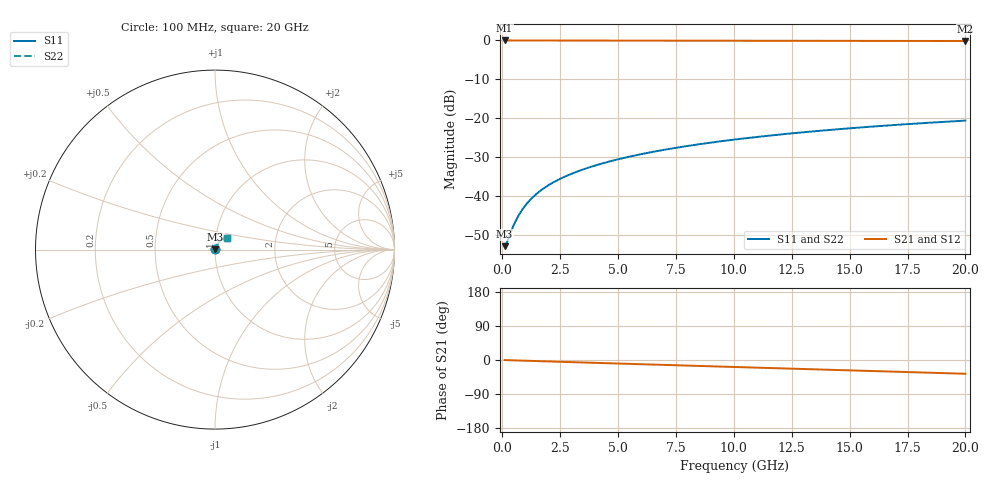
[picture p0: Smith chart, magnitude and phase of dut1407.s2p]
! Touchstone file exported from HFSS 2026.1.0
!  File:  C:/ffzhzh/LocalFiles/Ansys_Project_Files/temp_train_BSMRDL_1407_1783179979_18472.aedt
!  Generated:  11:47:25 PM Jul  4, 2026
!  Design:  BSMRDL
!  Project:  temp_train_BSMRDL_1407_1783179979_18472
! Variables:
!  h_bsmrdl = 5.61um
!  h_ox = 20um
!  h_rdl = 5um
!  h_sub = 80um
!  h_tmrdl = 5um
!  h_tsv = 80um
!  h_via = 3um
!  l_bsmrdl = 640.53um
!  l_sub = 1040.53um
!  l_tmrdl = 200um
!  m_sub = 200um
!  pitch = 31.52um
!  r_tsv = 6um
!  s_tmrdl = 10um
!  w_bsmrdl = 23.28um
!  w_sub = 500um
!  w_tmrdl = 12um
!  x_tsv_center1 = 206um
!  x_tsv_center2 = 869.81um
!  x_tsv_center3 = 1081.81um
!  x_tsv_center4 = 1745.62um
!  x_tsv_center5 = 1957.62um
!  x_tsv_center6 = 2621.43um
# GHz S MA R 50.000000
! Terminal data exported
! Port[1] = BSM_RDL1_1_T1
! Port[2] = BSM_RDL1_1_T2
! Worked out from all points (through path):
!   200 points, 100 MHz to 20 GHz, reference 50 ohm
!   highest |S21| = -0.02 dB at 100 MHz (marker M1); lowest = -0.2 dB at 20 GHz (marker M2)
!   group delay of S21, straight-line fit = 5.02 ps
!   lowest |S11| = -53.0 dB at 100 MHz (marker M3), VSWR 1.00, Z = 50.2 + j0.101 ohm
!   |S11| at or under -10 dB: start of sweep to end of sweep
!   |S22| runs from -53.0 to -20.7 dB; largest |S21 - S12| = 4.5e-15
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0.1  0.002243 26.7  0.998 -0.2  0.998 -0.2  0.002243 26.7
! Gamma 0 0 0 0
! Port Impedance 50 0 50 0
0.2  0.002517 40.2  0.9977 -0.4  0.9977 -0.4  0.00253 42.1
0.4  0.003593 56.0  0.9973 -0.8  0.9973 -0.8  0.003629 57.7
0.5  0.004223 60.3  0.9972 -1.0  0.9972 -1.0  0.004272 61.7
0.7  0.005539 65.2  0.997 -1.4  0.997 -1.4  0.005609 66.1
0.8  0.006205 66.7  0.997 -1.5  0.997 -1.5  0.006281 67.4
1  0.007528 68.4  0.9968 -1.9  0.9968 -1.9  0.007611 68.8
1.3  0.009462 69.6  0.9966 -2.5  0.9966 -2.5  0.009543 69.7
1.7  0.01193 70.0  0.9963 -3.2  0.9963 -3.2  0.01199 70.0
2.2  0.01484 69.9  0.9958 -4.2  0.9958 -4.2  0.01488 69.8
2.8  0.01815 69.5  0.9951 -5.3  0.9951 -5.3  0.01817 69.4
3.5  0.02186 68.9  0.9944 -6.6  0.9944 -6.6  0.02187 68.9
4.2  0.02546 68.2  0.9936 -7.9  0.9936 -7.9  0.02545 68.2
5  0.02946 67.3  0.9928 -9.3  0.9928 -9.3  0.02945 67.3
5.9  0.03385 66.2  0.9919 -11.0  0.9919 -11.0  0.03384 66.2
6.8  0.03814 65.1  0.9911 -12.6  0.9911 -12.6  0.03813 65.1
8.3  0.0451 63.1  0.9899 -15.3  0.9899 -15.3  0.04509 63.1
10.1  0.05318 60.5  0.9885 -18.6  0.9885 -18.6  0.05316 60.6
11.7  0.06014 58.2  0.9873 -21.4  0.9873 -21.4  0.06012 58.3
13.4  0.06731 55.7  0.9861 -24.5  0.9861 -24.5  0.06729 55.7
16.7  0.08054 50.6  0.9838 -30.4  0.9838 -30.4  0.08051 50.6
20  0.09272 45.3  0.9816 -36.3  0.9816 -36.3  0.09268 45.4
